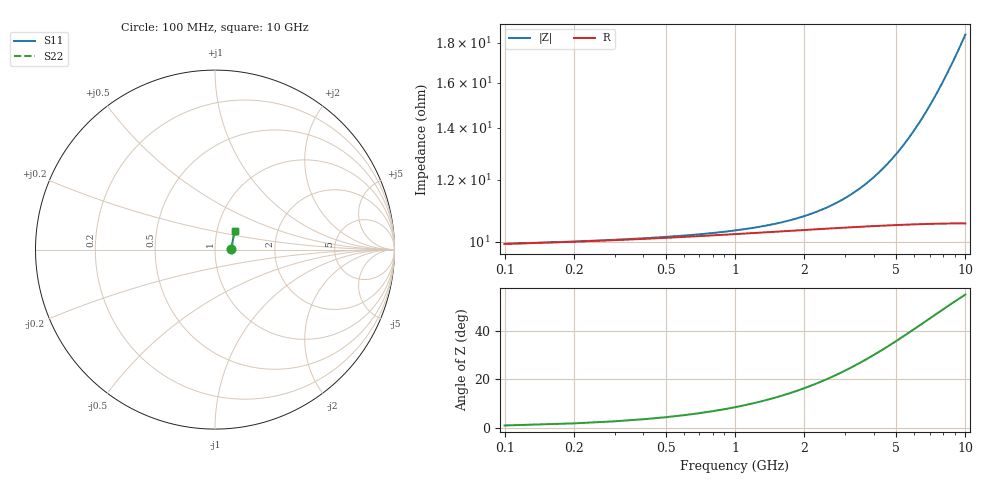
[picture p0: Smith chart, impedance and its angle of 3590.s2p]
# Hz S RI R 50.00
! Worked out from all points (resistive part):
!   100 points, 100 MHz to 10 GHz, reference 50 ohm
!   read as one part in series: R = 9.93 ohm at 100 MHz
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1e8  0.0904 0.00106  0.9096 -0.00144  0.9096 -0.00144  0.0904 0.00106
2e8  0.0909 0.00213  0.9091 -0.00288  0.9091 -0.00288  0.0909 0.00213
3e8  0.0913 0.00319  0.9087 -0.00432  0.9087 -0.00432  0.0913 0.00319
4e8  0.0916 0.00424  0.9084 -0.00575  0.9084 -0.00575  0.0916 0.00424
6e8  0.0921 0.00636  0.9079 -0.00862  0.9079 -0.00862  0.0921 0.00636
1.4e9  0.0936 0.0148  0.9064 -0.0201  0.9064 -0.0201  0.0936 0.0148
1.8e9  0.0942 0.019  0.9058 -0.0258  0.9058 -0.0258  0.0942 0.019
2.2e9  0.0948 0.0232  0.9052 -0.0315  0.9052 -0.0315  0.0948 0.0232
2.6e9  0.0953 0.0274  0.9046 -0.0372  0.9046 -0.0372  0.0953 0.0274
3e9  0.0959 0.0315  0.904 -0.0428  0.904 -0.0428  0.0959 0.0315
3.4e9  0.0965 0.0357  0.9034 -0.0485  0.9034 -0.0485  0.0965 0.0357
3.8e9  0.0972 0.0399  0.9027 -0.0542  0.9027 -0.0542  0.0972 0.0399
4.2e9  0.0978 0.044  0.902 -0.0598  0.902 -0.0598  0.0978 0.044
4.6e9  0.0986 0.0482  0.9013 -0.0655  0.9013 -0.0655  0.0986 0.0482
5.1e9  0.0995 0.0533  0.9003 -0.0725  0.9003 -0.0725  0.0995 0.0533
5.4e9  0.1001 0.0564  0.8997 -0.0767  0.8997 -0.0767  0.1001 0.0564
5.8e9  0.1009 0.0605  0.8988 -0.0824  0.8988 -0.0824  0.1009 0.0605
6.7e9  0.1029 0.0697  0.8967 -0.0949  0.8967 -0.0949  0.1029 0.0697
7.6e9  0.1052 0.0788  0.8944 -0.1075  0.8944 -0.1075  0.1052 0.0788
8.4e9  0.1073 0.0869  0.8921 -0.1185  0.8921 -0.1185  0.1073 0.0869
9.2e9  0.1097 0.0949  0.8896 -0.1295  0.8896 -0.1295  0.1097 0.0949
1e10  0.1123 0.1028  0.887 -0.1404  0.887 -0.1404  0.1123 0.1028
